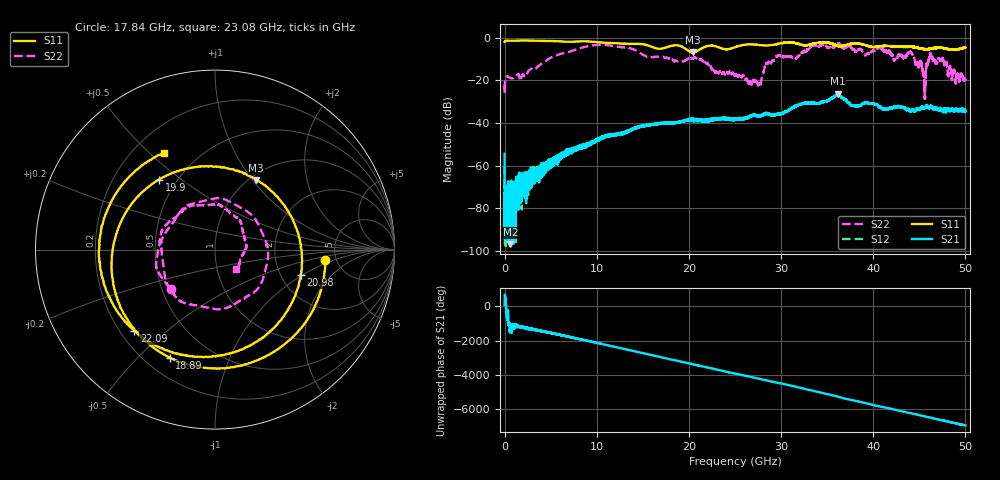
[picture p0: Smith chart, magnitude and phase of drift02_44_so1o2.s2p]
!Created with skrf (http://scikit-rf.org).
# Hz S RI R 50.0
!freq ReS11 ImS11 ReS21 ImS21 ReS12 ImS12 ReS22 ImS22
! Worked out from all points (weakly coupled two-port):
!   10001 points, 300 kHz to 50 GHz, reference 50 ohm
!   highest |S21| = -26.30 dB at 36.13 GHz (marker M1); lowest = -96.8 dB at 625.3 MHz (marker M2)
!   lowest |S11| = -6.9 dB at 20.4 GHz (marker M3), VSWR 2.64, Z = 53.7 + j52.1 ohm
!   |S11| at or under -10 dB: nowhere
!   |S22| runs from -28.9 to -2.6 dB; largest |S21 - S12| = 0.0052
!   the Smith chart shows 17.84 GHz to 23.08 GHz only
!   S11 on the Smith chart (normalised r, x): 17.84 GHz: 4.08, -0.80; 18.89 GHz: 0.30, -0.62; 19.9 GHz: 0.40, +0.42; 20.98 GHz: 2.56, -0.97; 22.09 GHz: 0.26, -0.39; 23.08 GHz: 0.32, +0.55
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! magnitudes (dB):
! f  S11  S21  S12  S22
! 300 kHz  -2.1  -54.4  -60.3  -21.8
! 255.3 MHz  -1.4  -78.6  -75.4  -18.2
! 625.3 MHz  -1.5  -96.8  -80.8  -18.9
! 8.335 GHz  -1.7  -51.0  -51.5  -4.7
! 16.67 GHz  -5.2  -40.4  -40.3  -9.0
! 17.84 GHz  -4.2  -40.0  -40.0  -9.7
! 18.89 GHz  -3.7  -39.5  -39.7  -10.9
! 19.9 GHz  -6.0  -38.4  -38.7  -9.9
! 20.4 GHz  -6.9  -38.4  -38.3  -9.7
! 20.98 GHz  -6.1  -38.6  -38.9  -9.3
! 22.09 GHz  -3.9  -38.9  -38.5  -12.5
! 23.08 GHz  -4.3  -37.8  -38.0  -15.8
! 25 GHz  -4.5  -38.3  -38.3  -17.6
! 27.63 GHz  -3.5  -36.8  -36.6  -21.5
! 29.54 GHz  -3.0  -36.1  -36.1  -8.8
! 33.34 GHz  -3.1  -30.7  -30.5  -3.8
! 36.13 GHz  -3.9  -26.3  -27.0  -3.2
! 41.67 GHz  -3.9  -33.3  -33.5  -6.1
! 44.14 GHz  -4.2  -34.4  -34.4  -7.1
! 45.51 GHz  -5.4  -32.9  -33.1  -18.0
! 46.27 GHz  -5.2  -32.1  -32.0  -9.3
! 50 GHz  -4.7  -34.4  -34.4  -19.3
